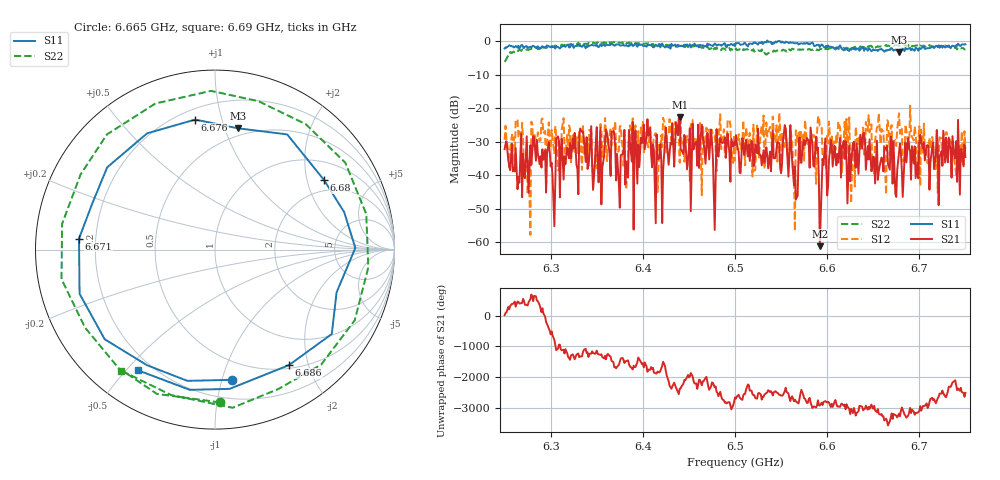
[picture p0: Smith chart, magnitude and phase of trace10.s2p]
# Hz S RI R 50
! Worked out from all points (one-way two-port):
!   401 points, 6.25 GHz to 6.75 GHz, reference 50 ohm
!   highest |S21| = -22.66 dB at 6.44 GHz (marker M1); lowest = -61.2 dB at 6.592 GHz (marker M2)
!   lowest |S11| = -3.3 dB at 6.678 GHz (marker M3), VSWR 5.41, Z = 21.6 + j55.5 ohm
!   |S11| at or under -10 dB: nowhere
!   |S22| runs from -6.1 to -0.1 dB; largest |S21 - S12| = 0.13
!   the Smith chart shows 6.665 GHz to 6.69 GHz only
!   S11 on the Smith chart (normalised r, x): 6.665 GHz: 0.35, -1.08; 6.671 GHz: 0.14, +0.04; 6.676 GHz: 0.26, +0.82; 6.68 GHz: 1.58, +2.55; 6.686 GHz: 0.55, -1.70; 6.69 GHz: 0.15, -0.54
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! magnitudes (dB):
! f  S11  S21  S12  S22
! 6.25 GHz  -2.1  -32.2  -29.4  -6.1
! 6.268 GHz  -1.2  -27.5  -30.5  -2.8
! 6.275 GHz  -1.9  -37.0  -45.8  -2.4
! 6.281 GHz  -1.3  -28.2  -31.2  -2.2
! 6.302 GHz  -1.4  -40.3  -28.8  -1.6
! 6.334 GHz  -1.6  -27.0  -38.3  -0.8
! 6.374 GHz  -0.9  -42.4  -32.7  -0.3
! 6.418 GHz  -1.0  -34.9  -30.2  -0.8
! 6.44 GHz  -1.3  -22.7  -36.2  -1.2
! 6.5 GHz  -1.4  -31.0  -35.6  -2.5
! 6.584 GHz  -0.3  -30.8  -28.1  -2.4
! 6.592 GHz  -1.7  -61.2  -25.2  -2.3
! 6.628 GHz  -2.0  -30.4  -30.1  -1.9
! 6.665 GHz  -2.7  -31.2  -23.6  -1.4
! 6.668 GHz  -2.5  -38.3  -34.1  -1.4
! 6.671 GHz  -2.4  -42.5  -35.2  -1.3
! 6.676 GHz  -2.7  -38.5  -26.3  -1.1
! 6.678 GHz  -3.3  -33.1  -21.5  -1.3
! 6.68 GHz  -2.8  -33.1  -26.0  -1.2
! 6.686 GHz  -2.3  -36.1  -26.6  -1.4
! 6.69 GHz  -2.0  -32.6  -19.2  -1.4
! 6.75 GHz  -0.9  -34.5  -32.0  -2.4
